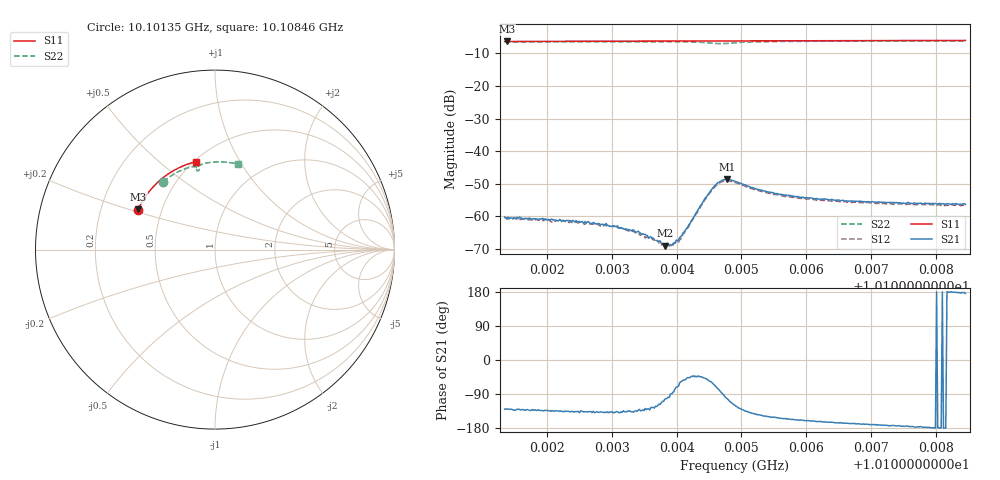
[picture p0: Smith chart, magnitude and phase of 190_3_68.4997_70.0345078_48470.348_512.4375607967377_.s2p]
#  HZ  S  RI  R  50.00
! Rohde & Schwarz Vector Network Analyzer
! Rohde-Schwarz,ZNB20-2Port,1311601062101988,3.16
! Created: UTC 3/20/2024, 4:57:05 PM
! freq[Hz]  re:S11  im:S11  re:S21  im:S21  re:S12  im:S12  re:S22  im:S22
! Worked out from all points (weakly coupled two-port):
!   401 points, 10.10135 GHz to 10.10846 GHz, reference 50 ohm
!   highest |S21| = -48.73 dB at 10.10478 GHz (marker M1); lowest = -69.1 dB at 10.10382 GHz (marker M2)
!   lowest |S11| = -6.3 dB at 10.10138 GHz (marker M3), VSWR 2.87, Z = 18.3 + j10.8 ohm
!   |S11| at or under -10 dB: nowhere
!   |S22| runs from -7.0 to -6.1 dB; largest |S21 - S12| = 0.00039
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1.0101347e10  -0.4287 0.2229  -0.000619 -0.000741  -0.000554 -0.000744  -0.2886 0.3779
1.0101382e10  -0.4277 0.2248  -0.000593 -0.000718  -0.000528 -0.000721  -0.2869 0.3796
1.0101951e10  -0.4119 0.2559  -0.000623 -0.000644  -0.000524 -0.000664  -0.2574 0.402
1.0102538e10  -0.3935 0.2865  -0.000581 -0.000591  -0.000528 -0.000594  -0.2252 0.4228
1.0103e10  -0.3776 0.3096  -0.000506 -0.000479  -0.000472 -0.000504  -0.1981 0.4373
1.0103302e10  -0.3664 0.3241  -0.000435 -0.000406  -0.000389 -0.000436  -0.1796 0.446
1.0103515e10  -0.3581 0.3341  -0.00032 -0.000413  -0.000281 -0.000365  -0.1659 0.4513
1.0103728e10  -0.3496 0.3437  -0.00018 -0.000366  -0.000157 -0.000351  -0.1515 0.4563
1.0103817e10  -0.346 0.3478  -8.28e-05 -0.000342  -0.000112 -0.000346  -0.1451 0.458
1.0103924e10  -0.3416 0.3525  2.87e-06 -0.000354  5.3e-05 -0.000355  -0.1372 0.4602
1.0104031e10  -0.3371 0.3572  0.000158 -0.000404  0.000177 -0.000353  -0.1292 0.4613
1.010419e10  -0.3302 0.364  0.000507 -0.00054  0.000515 -0.000469  -0.1161 0.4623
1.0104404e10  -0.3209 0.373  0.00112 -0.00117  0.00117 -0.00102  -0.0973 0.4574
1.0104546e10  -0.3145 0.3789  0.00132 -0.00225  0.00144 -0.00205  -0.0892 0.4472
1.010467e10  -0.309 0.3837  0.00046 -0.00337  0.000754 -0.00318  -0.093 0.4381
1.0104777e10  -0.3041 0.3878  -0.000735 -0.00358  -0.0004 -0.00348  -0.1005 0.4401
1.0104901e10  -0.2985 0.3926  -0.00169 -0.00297  -0.00141 -0.00295  -0.1024 0.4507
1.0105239e10  -0.2826 0.4056  -0.00207 -0.00154  -0.00189 -0.00165  -0.0824 0.4713
1.0105452e10  -0.272 0.4133  -0.00203 -0.00113  -0.00181 -0.00126  -0.0672 0.4775
1.0106092e10  -0.2398 0.4347  -0.00178 -0.000606  -0.00165 -0.000716  -0.0228 0.4864
1.0107283e10  -0.1753 0.4672  -0.00161 -0.000165  -0.00151 -0.000322  0.0553 0.4875
1.0108456e10  -0.1081 0.4895  -0.00151 0.000115  -0.00148 -6.74e-05  0.13 0.476
